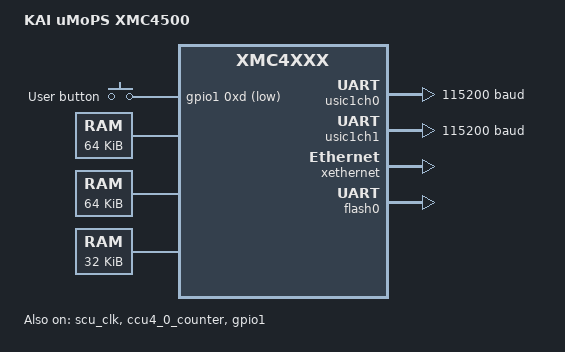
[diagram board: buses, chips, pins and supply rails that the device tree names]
/dts-v1/;

/ {
	#address-cells = < 0x1 >;
	#size-cells = < 0x1 >;
	model = "KAI uMoPS XMC4500";
	compatible = "kai,umops-xmc45", "infineon,xmc4500", "infineon,xmc4xxx";
	chosen {
		zephyr,sram = &dsram1;
		zephyr,flash = &flash0;
		zephyr,console = &usic1ch1;
		zephyr,shell-uart = &usic1ch1;
	};
	aliases {
		sw0 = &button0;
	};
	soc {
		#address-cells = < 0x1 >;
		#size-cells = < 0x1 >;
		compatible = "simple-bus";
		interrupt-parent = < &nvic >;
		ranges;
		nvic: interrupt-controller@e000e100 {
			#address-cells = < 0x1 >;
			compatible = "arm,v7m-nvic";
			reg = < 0xe000e100 0xc00 >;
			interrupt-controller;
			#interrupt-cells = < 0x2 >;
			arm,num-irq-priority-bits = < 0x6 >;
			phandle = < 0x1 >;
		};
		systick: timer@e000e010 {
			compatible = "arm,armv7m-systick";
			reg = < 0xe000e010 0x10 >;
		};
		usic0ch0: usic@40030000 {
			reg = < 0x40030000 0x1ff >;
			clocks = < &sysclk >;
			status = "disabled";
		};
		usic0ch1: usic@40030200 {
			reg = < 0x40030200 0x1ff >;
			clocks = < &sysclk >;
			status = "disabled";
		};
		usic1ch0: usic@48020000 {
			reg = < 0x48020000 0x1ff >;
			clocks = < &sysclk >;
			status = "okay";
			compatible = "infineon,xmc4xxx-uart";
			current-speed = < 0x1c200 >;
			label = "UART_4";
		};
		usic1ch1: usic@48020200 {
			reg = < 0x48020200 0x1ff >;
			clocks = < &sysclk >;
			status = "okay";
			compatible = "infineon,xmc4xxx-uart";
			current-speed = < 0x1c200 >;
			label = "UART_0";
		};
		usic2ch0: usic@48024000 {
			reg = < 0x48024000 0x1ff >;
			clocks = < &sysclk >;
			status = "disabled";
		};
		usic2ch1: usic@48024200 {
			reg = < 0x48024200 0x1ff >;
			clocks = < &sysclk >;
			status = "disabled";
		};
		scu_clk: clock@50004600 {
			compatible = "infineon,xmc-clock";
			reg = < 0x50004600 0x38 >;
			status = "okay";
			label = "SCU_CLK";
		};
		ccu4_0_counter: counter@4000c100 {
			compatible = "infineon,xmc-ccu4-0-counter";
			reg = < 0x4000c100 0xb4 0x4000c000 0x84 >;
			prescale = < 0xf >;
			label = "CCU4_0_COUNTER";
			interrupts = < 0x2c 0x0 >;
			status = "okay";
		};
		mux0: mux_0 {
			status = "okay";
			compatible = "ti,tmux1208";
			label = "Mux 0";
			addr-gpios = < 0x0 0x1 0x2 >;
		};
		mux1: mux_1 {
			status = "okay";
			compatible = "ti,tmux1208";
			label = "Mux 1";
			addr-gpios = < 0x3 0x4 0x5 >;
		};
		gpio1: gpio@48028100 {
			compatible = "infineon,xmc-gpio";
			gpio-controller;
			reg = < 0x48028100 0x100 >;
			#gpio-cells = < 0x2 >;
			label = "GPIO_1";
			status = "okay";
			port = < 0x1 >;
			phandle = < 0x3 >;
		};
		buttons {
			compatible = "gpio-keys";
			button0: button_0 {
				gpios = < &gpio1 0xd 0x2711 >;
				label = "User button";
			};
		};
		xethernet: ethernet@5000c000 {
			compatible = "infineon,xmc-ethernet";
			reg = < 0x5000c000 0x105c >;
			interrupts = < 0x6c 0x0 >;
			status = "okay";
			label = "xmc_ethernet";
		};
	};
	cpus {
		#address-cells = < 0x1 >;
		#size-cells = < 0x0 >;
		cpu0: cpu@0 {
			compatible = "arm,cortex-m4f";
			reg = < 0x0 >;
			clock-frequency = < 0x7270e00 >;
		};
	};
	psram1: memory@10000000 {
		compatible = "mmio-sram";
		reg = < 0x10000000 0x10000 >;
		status = "okay";
	};
	dsram1: memory@20000000 {
		compatible = "mmio-sram";
		reg = < 0x20000000 0x10000 >;
		status = "okay";
	};
	sdram2: memory@30000000 {
		compatible = "mmio-sram";
		reg = < 0x30000000 0x8000 >;
		status = "okay";
	};
	flash0: serial-flash@8000000 {
		compatible = "serial-flash";
		reg = < 0x8000000 0x100000 >;
	};
	sysclk: system-clock {
		compatible = "fixed-clock";
		clock-frequency = < 0x7270e00 >;
		#clock-cells = < 0x0 >;
		phandle = < 0x2 >;
	};
};
